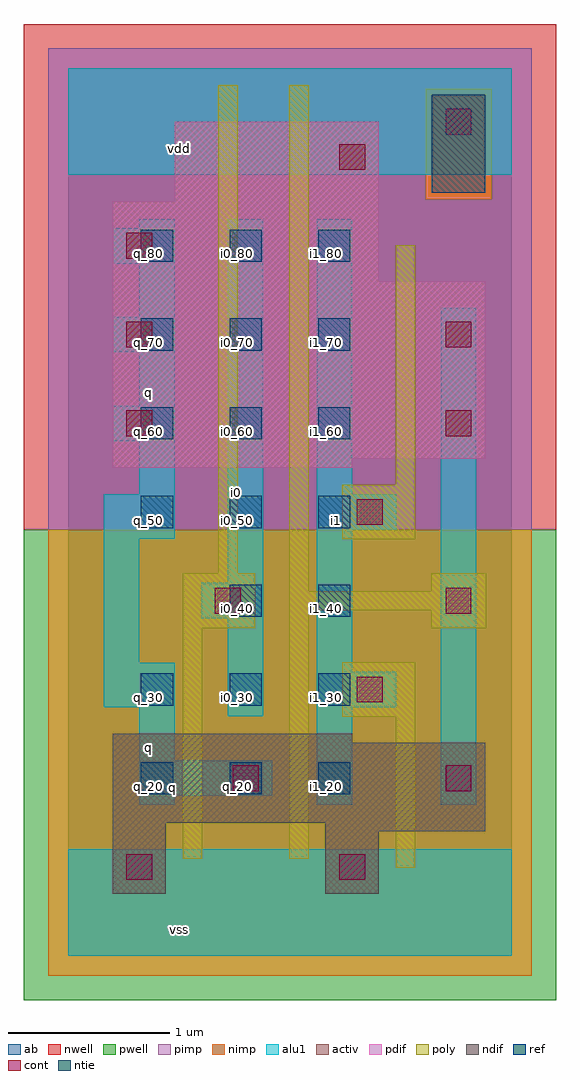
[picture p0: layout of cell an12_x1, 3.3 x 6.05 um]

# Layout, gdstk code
import gdstk
lib = gdstk.Library(unit=1e-6, precision=2.5e-09)
def R(c, l, rs):  # rectangles x0, y0, x1, y1
    for r in rs: c.add(gdstk.rectangle(r[:2], r[2:], *l))
def A(c, l, x, y, w, h, nx, ny, dx, dy):  # array of equal rectangles
    R(c, l, [(x+i*dx, y+j*dy, x+i*dx+w, y+j*dy+h) for i in range(nx) for j in range(ny)])
ndif = (3, 0)
pdif = (4, 0)
ntie = (5, 0)
ref = (24, 0)
cont = (25, 0)
pwell = (41, 0)
nwell = (42, 0)
activ = (43, 0)
pimp = (44, 0)
nimp = (45, 0)
poly = (46, 0)
alu1 = (49, 0)
ab = (63, 0)

an12_x1 = lib.new_cell('an12_x1')
R(an12_x1, ndif, [(0.275,0.385,0.605,0.825), (1.595,0.385,1.925,0.77), (1.595,0.77,2.585,0.825), (0.275,0.825,2.585,1.32), (0.275,1.32,1.76,1.375)])
R(an12_x1, pdif, [(0.275,3.025,1.76,3.08), (0.275,3.08,2.585,4.18), (0.275,4.18,1.925,4.675), (0.66,4.675,1.925,5.17)])
R(an12_x1, ntie, [(2.255,4.73,2.585,5.335)])
A(an12_x1, ref, 0.45, 1, 0.2, 0.2, 3, 2, 0.55, 0.55)
A(an12_x1, ref, 0.45, 2.65, 0.2, 0.2, 3, 4, 0.55, 0.55)
R(an12_x1, ref, [(1,2.1,1.2,2.3), (1.55,2.1,1.75,2.3)])
A(an12_x1, cont, 2.34, 1.02, 0.16, 0.16, 1, 3, 0, 1.1)
A(an12_x1, cont, 0.36, 3.22, 0.16, 0.16, 1, 3, 0, 0.55)
R(an12_x1, cont, [(0.36,0.47,0.52,0.63), (1.68,0.47,1.84,0.63), (1.02,1.02,1.18,1.18), (1.79,1.57,1.95,1.73), (0.91,2.12,1.07,2.28), (1.79,2.67,1.95,2.83), (2.34,3.77,2.5,3.93), (1.68,4.87,1.84,5.03), (2.34,5.09,2.5,5.25)])
R(an12_x1, pwell, [(-0.275,-0.275,3.025,2.64)])
R(an12_x1, nwell, [(-0.275,2.64,3.025,5.775)])
R(an12_x1, activ, [(0.275,0.385,0.605,0.825), (1.595,0.385,1.925,0.77), (1.595,0.77,2.585,0.825), (0.275,0.825,2.585,1.32), (0.275,1.32,1.76,1.375), (0.275,3.025,1.76,3.08), (0.275,3.08,2.585,4.18), (0.275,4.18,1.925,4.675), (0.66,4.675,1.925,5.17), (2.255,4.73,2.585,5.335)])
R(an12_x1, pimp, [(-0.125,2.64,2.875,4.69), (-0.125,4.69,2.215,5.375), (2.625,4.69,2.875,5.375), (-0.125,5.375,2.875,5.625)])
R(an12_x1, nimp, [(-0.125,-0.125,2.875,2.64), (2.215,4.69,2.625,5.375)])
R(an12_x1, poly, [(2.03,0.545,2.15,1.48), (0.71,0.6,0.83,2.03), (1.37,0.6,1.49,2.14), (1.7,1.48,2.15,1.82), (0.71,2.03,1.16,2.37), (2.25,2.03,2.59,2.14), (1.37,2.14,2.59,2.26), (1.37,2.26,1.49,5.395), (2.25,2.26,2.59,2.37), (0.93,2.37,1.05,5.395), (1.7,2.58,2.15,2.92), (2.03,2.92,2.15,4.405)])
A(an12_x1, alu1, 0.44, 2.86, 0.22, 0.33, 1, 3, 0, 0.55)
A(an12_x1, alu1, 0.275, 3.19, 0.385, 0.22, 1, 3, 0, 0.55)
R(an12_x1, alu1, [(0,0,2.75,0.66), (0.44,0.935,0.66,0.99), (1.54,0.935,1.76,1.54), (2.31,0.935,2.53,4.015), (0.44,0.99,1.265,1.21), (0.44,1.21,0.66,1.54), (0.99,1.485,1.21,2.09), (0.22,1.54,0.66,1.815), (1.54,1.54,2.035,1.76), (1.54,1.76,1.76,2.64), (0.22,1.815,0.44,2.585), (0.825,2.09,1.21,2.31), (0.99,2.31,1.21,4.565), (0.22,2.585,0.66,2.86), (1.54,2.64,2.035,2.86), (1.54,2.86,1.76,4.565), (0.44,4.51,0.66,4.565), (0,4.84,2.75,5.5)])
R(an12_x1, ab, [(0,0,2.75,5.5)])
an12_x1.add(gdstk.Label('vss', (0.6875,0.165), layer=49, texttype=0))
an12_x1.add(gdstk.Label('q', (0.645,1.045), layer=49, texttype=0))
an12_x1.add(gdstk.Label('i1', (1.6625,2.695), layer=49, texttype=0))
an12_x1.add(gdstk.Label('q', (0.495,1.2925), layer=49, texttype=0))
an12_x1.add(gdstk.Label('i0', (1.045,2.8725), layer=49, texttype=0))
an12_x1.add(gdstk.Label('q', (0.495,3.4925), layer=49, texttype=0))
an12_x1.add(gdstk.Label('vdd', (0.6875,5.005), layer=49, texttype=0))
an12_x1.add(gdstk.Label('q_20', (1.05,1.05), layer=24, texttype=0))
an12_x1.add(gdstk.Label('i1_20', (1.6,1.05), layer=24, texttype=0))
an12_x1.add(gdstk.Label('q_20', (0.5,1.05), layer=24, texttype=0))
an12_x1.add(gdstk.Label('i0_80', (1.05,4.35), layer=24, texttype=0))
an12_x1.add(gdstk.Label('i0_70', (1.05,3.8), layer=24, texttype=0))
an12_x1.add(gdstk.Label('i0_60', (1.05,3.25), layer=24, texttype=0))
an12_x1.add(gdstk.Label('i0_50', (1.05,2.7), layer=24, texttype=0))
an12_x1.add(gdstk.Label('q_80', (0.5,4.35), layer=24, texttype=0))
an12_x1.add(gdstk.Label('q_70', (0.5,3.8), layer=24, texttype=0))
an12_x1.add(gdstk.Label('i1_50', (1.6,2.7), layer=24, texttype=0))
an12_x1.add(gdstk.Label('i1_60', (1.6,3.25), layer=24, texttype=0))
an12_x1.add(gdstk.Label('i1_70', (1.6,3.8), layer=24, texttype=0))
an12_x1.add(gdstk.Label('i1_80', (1.6,4.35), layer=24, texttype=0))
an12_x1.add(gdstk.Label('q_60', (0.5,3.25), layer=24, texttype=0))
an12_x1.add(gdstk.Label('q_50', (0.5,2.7), layer=24, texttype=0))
an12_x1.add(gdstk.Label('q_30', (0.5,1.6), layer=24, texttype=0))
an12_x1.add(gdstk.Label('i0_40', (1.05,2.15), layer=24, texttype=0))
an12_x1.add(gdstk.Label('i0_30', (1.05,1.6), layer=24, texttype=0))
an12_x1.add(gdstk.Label('i1_30', (1.6,1.6), layer=24, texttype=0))
an12_x1.add(gdstk.Label('i1_40', (1.6,2.15), layer=24, texttype=0))

lib.write_gds('an12_x1.gds')
